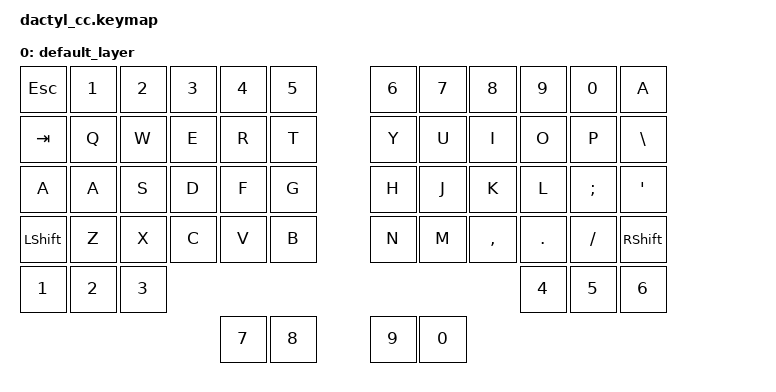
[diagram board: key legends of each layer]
#include <behaviors.dtsi>
#include <dt-bindings/zmk/keys.h>
#include <dt-bindings/zmk/bt.h>
#include <dt-bindings/zmk/outputs.h>

#define DEFAULT 0
#define MAC     1
#define LOWER   2
#define RAISE   3
#define ADJUST  4

#define HYPER(key) LS(LC(LA(LG(key))))
#define MEH(key)   LS(LC(LA(key)))

&sl {
    release-after-ms = <5000>;
};

/ {
    keymap {
        compatible = "zmk,keymap";

        default_layer {
            bindings = <
    &kp ESC   &kp N1    &kp N2   &kp N3    &kp N4    &kp N5                             &kp N6    &kp N7    &kp N8    &kp N9    &kp N0   &kp A
    &kp TAB   &kp Q     &kp W    &kp E     &kp R     &kp T                              &kp Y     &kp U     &kp I     &kp O     &kp P    &kp BSLH
    &kp A  &kp A     &kp S    &kp D     &kp F     &kp G                              &kp H     &kp J     &kp K     &kp L     &kp SEMI &kp SQT
    &kp LSHFT &kp Z     &kp X    &kp C     &kp V     &kp B                              &kp N     &kp M     &kp COMMA &kp DOT   &kp FSLH &kp RSHFT
              &kp 1 &kp 2 &kp 3 &kp 4 &kp 5 &kp 6 
              &kp 7 &kp 8 &kp 9 &kp 0 
            >;
        };

    };
};
